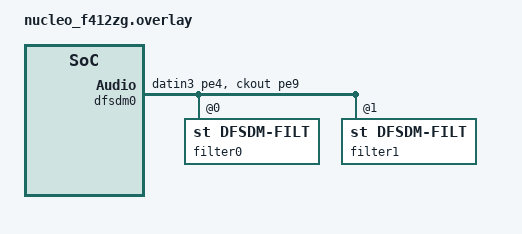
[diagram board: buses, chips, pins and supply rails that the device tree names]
/*
 * Copyright (c) 2024 Charlie Gilliland
 *
 * SPDX-License-Identifier: Apache-2.0
 */

&dma2 {
    status = "okay";
};
/*
&pinctrl {
    status = "okay";
};
*/
&gpioe {
    status = "okay";
};

dmic_dev: &dfsdm0 {
    status = "okay";

    pinctrl-0 = <&dfsdm1_datin3_pe4 &dfsdm1_ckout_pe9>;
    pinctrl-names = "default";
    clocks = <&rcc STM32_CLOCK_BUS_APB2 STM32_CLOCK(0, 1, 31, 0x8C)>,   // DFSDM kernel clock: Default PCLK2 (0), or SYSCLK (1)
             <&rcc NO_SEL STM32_CLOCK(0, 1, 15, 0x8C)>;                 // DFSDM audio clock: Default PLLI2S1 (0), or PLLI2S2 (1)
    clock-names = "dfsdm", "audio";

    filter0: filter@0 {
        compatible = "st,dfsdm-filt";
        st,adc-channels = <3>;
        st,sample-edge = "rising";
        st,adc-channel-clk-src = "CLKOUT";
        st,filter-order = <3>;
        status = "okay";
    };

    filter1: filter@1 {
        compatible = "st,dfsdm-filt";
        st,adc-channels = <2>;
        st,sample-edge = "falling";
        st,adc-channel-clk-src = "CLKOUT";
        st,filter-order = <3>;
        st,adc-alt-channel = <1>; // following channel's pin
        status = "okay";
    };
};
